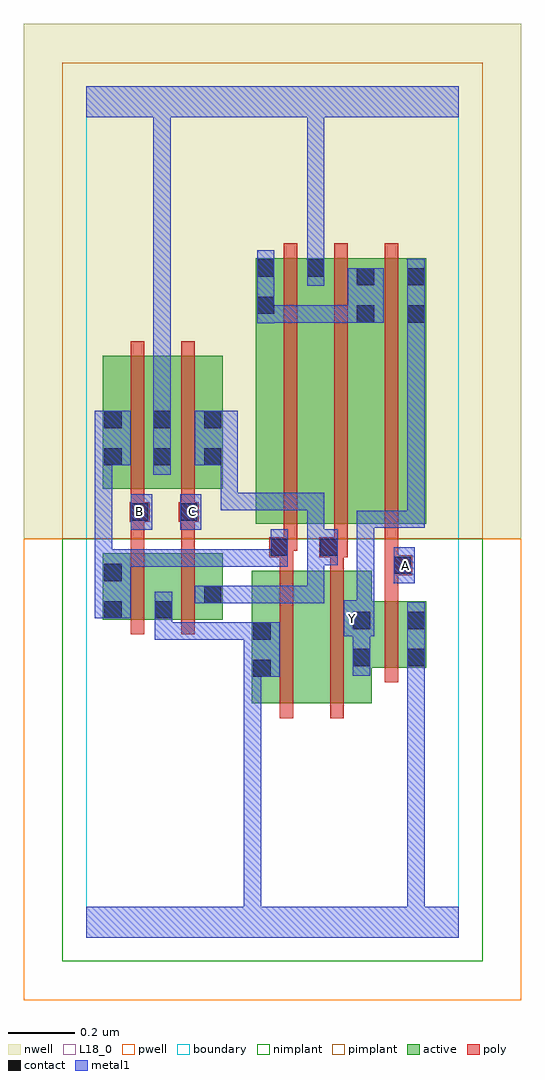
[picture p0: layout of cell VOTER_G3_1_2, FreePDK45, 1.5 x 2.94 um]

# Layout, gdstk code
import gdstk
lib = gdstk.Library(unit=1e-6, precision=1e-09)
def R(c, l, rs):  # rectangles x0, y0, x1, y1
    for r in rs: c.add(gdstk.rectangle(r[:2], r[2:], *l))
def A(c, l, x, y, w, h, nx, ny, dx, dy):  # array of equal rectangles
    R(c, l, [(x+i*dx, y+j*dy, x+i*dx+w, y+j*dy+h) for i in range(nx) for j in range(ny)])
active = (1, 0)
pwell = (2, 0)
nwell = (3, 0)
nimplant = (4, 0)
pimplant = (5, 0)
poly = (9, 0)
contact = (10, 0)
metal1 = (11, 0)
L18_0 = (18, 0)
boundary = (235, 0)

voter_g3_1_2 = lib.new_cell('VOTER_G3_1_2')
R(voter_g3_1_2, active, [(0.498,0.704,0.678,1.104), (0.498,0.704,0.558,1.104), (0.678,0.704,0.858,1.104), (0.798,0.704,0.858,0.984), (0.798,0.812,1.022,1.012), (0.962,0.812,1.022,1.012), (0.05,0.956,0.11,1.156), (0.05,0.956,0.262,1.156), (0.202,0.956,0.41,1.156), (0.202,0.956,0.262,1.034), (0.35,0.956,0.41,1.156), (0.51,1.244,0.57,2.044), (0.51,1.244,0.72,2.044), (0.66,1.244,0.72,2.044), (0.66,1.244,0.87,2.044), (0.81,1.244,1.022,2.044), (0.962,1.244,1.022,2.044), (0.05,1.35,0.11,1.75), (0.05,1.35,0.258,1.75), (0.198,1.35,0.41,1.75), (0.35,1.35,0.41,1.644), (0.198,1.416,0.258,1.644), (0.81,1.686,0.87,2.044)])
R(voter_g3_1_2, pwell, [(-0.188,-0.188,1.308,1.2)])
R(voter_g3_1_2, nwell, [(-0.188,1.2,1.308,2.748)])
R(voter_g3_1_2, nimplant, [(-0.072,-0.072,1.192,1.2)])
R(voter_g3_1_2, pimplant, [(-0.072,1.2,1.192,2.632)])
A(voter_g3_1_2, poly, 0.594, 1.2, 0.04, 0.888, 3, 1, 0.152, 0)
R(voter_g3_1_2, poly, [(0.582,0.66,0.622,1.148), (0.734,0.66,0.774,1.148), (0.898,0.768,0.938,1.056), (0.134,0.912,0.174,1.2), (0.286,0.912,0.326,1.2), (0.898,1.016,0.938,1.13), (0.898,1.09,0.98,1.15), (0.582,1.108,0.622,1.184), (0.734,1.108,0.774,1.184), (0.898,1.11,0.938,1.24), (0.898,1.11,0.938,1.15), (0.898,1.11,0.938,1.15), (0.55,1.144,0.622,1.204), (0.7,1.144,0.786,1.204), (0.734,1.144,0.774,1.184), (0.734,1.144,0.774,1.184), (0.134,1.16,0.174,1.29), (0.286,1.16,0.326,1.29), (0.582,1.164,0.622,1.204), (0.582,1.164,0.634,1.204), (0.594,1.164,0.634,1.24), (0.746,1.164,0.786,1.24), (0.13,1.25,0.19,1.31), (0.134,1.25,0.174,1.29), (0.134,1.25,0.174,1.29), (0.278,1.25,0.338,1.31), (0.286,1.25,0.326,1.29), (0.286,1.25,0.326,1.29), (0.134,1.27,0.174,1.346), (0.286,1.27,0.326,1.346), (0.134,1.306,0.174,1.794), (0.286,1.306,0.326,1.794)])
R(voter_g3_1_2, contact, [(0.502,0.784,0.554,0.836), (0.802,0.816,0.854,0.868), (0.966,0.816,1.018,0.868), (0.502,0.896,0.554,0.948), (0.802,0.928,0.854,0.98), (0.966,0.928,1.018,0.98), (0.054,0.96,0.106,1.012), (0.206,0.96,0.258,1.012), (0.354,1.006,0.406,1.058), (0.054,1.072,0.106,1.124), (0.924,1.094,0.976,1.146), (0.554,1.148,0.606,1.2), (0.704,1.148,0.756,1.2), (0.134,1.254,0.186,1.306), (0.282,1.254,0.334,1.306), (0.054,1.42,0.106,1.472), (0.202,1.42,0.254,1.472), (0.354,1.42,0.406,1.472), (0.054,1.532,0.106,1.584), (0.202,1.532,0.254,1.584), (0.354,1.532,0.406,1.584), (0.814,1.85,0.866,1.902), (0.966,1.85,1.018,1.902), (0.514,1.876,0.566,1.928), (0.814,1.962,0.866,2.014), (0.966,1.962,1.018,2.014), (0.514,1.988,0.566,2.04), (0.664,1.988,0.716,2.04)])
R(voter_g3_1_2, metal1, [(0,0,1.12,0.092), (0.474,0.04,0.526,0.092), (0.474,0.04,0.526,0.092), (0.474,0.04,0.526,0.092), (0.474,0.04,0.526,0.092), (0.474,0.04,0.526,0.836), (0.966,0.04,1.018,0.092), (0.966,0.04,1.018,0.092), (0.966,0.04,1.018,0.092), (0.966,0.04,1.018,0.092), (0.966,0.04,1.018,0.092), (0.966,0.04,1.018,0.092), (0.966,0.04,1.018,0.092), (0.966,0.04,1.018,0.092), (0.966,0.04,1.018,0.092), (0.966,0.04,1.018,0.092), (0.966,0.04,1.018,0.092), (0.966,0.04,1.018,0.092), (0.966,0.04,1.018,0.534), (0.966,0.482,1.018,0.534), (0.966,0.482,1.018,0.84), (0.474,0.784,0.526,0.836), (0.474,0.784,0.526,0.836), (0.474,0.784,0.526,0.836), (0.474,0.784,0.526,0.836), (0.474,0.784,0.526,0.836), (0.474,0.784,0.526,0.836), (0.474,0.784,0.526,0.836), (0.474,0.784,0.526,0.836), (0.474,0.784,0.582,0.948), (0.802,0.788,0.854,1.008), (0.966,0.788,1.018,1.008), (0.966,0.788,1.018,0.84), (0.966,0.788,1.018,0.84), (0.206,0.896,0.386,0.948), (0.206,0.896,0.258,0.984), (0.334,0.896,0.386,0.948), (0.334,0.896,0.386,0.948), (0.334,0.896,0.386,0.948), (0.334,0.896,0.386,0.948), (0.334,0.896,0.386,0.948), (0.334,0.896,0.526,0.948), (0.774,0.906,0.866,1.014), (0.802,0.906,0.854,0.958), (0.206,0.932,0.258,0.984), (0.206,0.932,0.258,1.04), (0.026,0.96,0.134,1.124), (0.814,0.962,0.866,1.284), (0.326,1.006,0.434,1.058), (0.382,1.006,0.606,1.058), (0.554,1.006,0.606,1.058), (0.554,1.006,0.606,1.058), (0.554,1.006,0.606,1.058), (0.554,1.006,0.716,1.058), (0.664,1.006,0.716,1.058), (0.664,1.006,0.716,1.058), (0.664,1.006,0.716,1.058), (0.664,1.006,0.716,1.228), (0.924,1.066,0.988,1.174), (0.026,1.072,0.078,1.168), (0.026,1.116,0.078,1.168), (0.026,1.116,0.078,1.168), (0.026,1.116,0.078,1.168), (0.026,1.116,0.244,1.168), (0.026,1.116,0.078,1.472), (0.192,1.116,0.244,1.168), (0.192,1.116,0.416,1.168), (0.364,1.116,0.416,1.168), (0.364,1.116,0.416,1.168), (0.364,1.116,0.416,1.168), (0.364,1.116,0.606,1.168), (0.554,1.116,0.606,1.172), (0.554,1.12,0.606,1.172), (0.554,1.12,0.606,1.228), (0.704,1.12,0.756,1.228), (0.664,1.176,0.756,1.228), (0.664,1.176,0.716,1.338), (0.134,1.226,0.198,1.334), (0.282,1.226,0.346,1.334), (0.814,1.232,0.866,1.284), (0.814,1.232,1.018,1.284), (0.966,1.232,1.018,1.874), (0.966,1.232,1.018,1.284), (0.966,1.232,1.018,1.284), (0.966,1.232,1.018,1.284), (0.404,1.286,0.456,1.338), (0.404,1.286,0.566,1.338), (0.404,1.286,0.456,1.472), (0.514,1.286,0.566,1.338), (0.514,1.286,0.566,1.338), (0.514,1.286,0.566,1.338), (0.514,1.286,0.716,1.338), (0.202,1.392,0.254,1.612), (0.026,1.42,0.078,1.472), (0.026,1.42,0.078,1.472), (0.026,1.42,0.134,1.584), (0.326,1.42,0.456,1.584), (0.202,1.56,0.254,1.612), (0.202,1.56,0.254,1.612), (0.202,1.56,0.254,2.52), (0.966,1.822,1.018,2.042), (0.514,1.848,0.566,2.068), (0.514,1.85,0.566,1.902), (0.514,1.85,0.566,1.902), (0.514,1.85,0.716,1.902), (0.664,1.85,0.716,1.902), (0.664,1.85,0.716,1.902), (0.664,1.85,0.716,1.902), (0.664,1.85,0.838,1.902), (0.786,1.85,0.894,2.014), (0.664,1.96,0.716,2.068), (0.664,2.016,0.716,2.068), (0.664,2.016,0.716,2.068), (0.664,2.016,0.716,2.068), (0.664,2.016,0.716,2.068), (0.664,2.016,0.716,2.52), (0,2.468,1.12,2.56), (0.202,2.468,0.254,2.52), (0.202,2.468,0.254,2.52), (0.202,2.468,0.254,2.52), (0.202,2.468,0.254,2.52), (0.202,2.468,0.254,2.52), (0.202,2.468,0.254,2.52), (0.202,2.468,0.254,2.52), (0.202,2.468,0.254,2.52), (0.202,2.468,0.254,2.52), (0.202,2.468,0.254,2.52), (0.202,2.468,0.254,2.52), (0.202,2.468,0.254,2.52), (0.202,2.468,0.254,2.52), (0.202,2.468,0.254,2.52), (0.664,2.468,0.716,2.52), (0.664,2.468,0.716,2.52), (0.664,2.468,0.716,2.52), (0.664,2.468,0.716,2.52)])
R(voter_g3_1_2, L18_0, [(0,0,1.12,0.092), (0.474,0.04,0.526,0.092), (0.474,0.04,0.526,0.092), (0.474,0.04,0.526,0.092), (0.474,0.04,0.526,0.092), (0.474,0.04,0.526,0.836), (0.966,0.04,1.018,0.092), (0.966,0.04,1.018,0.092), (0.966,0.04,1.018,0.092), (0.966,0.04,1.018,0.092), (0.966,0.04,1.018,0.092), (0.966,0.04,1.018,0.092), (0.966,0.04,1.018,0.092), (0.966,0.04,1.018,0.092), (0.966,0.04,1.018,0.092), (0.966,0.04,1.018,0.092), (0.966,0.04,1.018,0.092), (0.966,0.04,1.018,0.092), (0.966,0.04,1.018,0.534), (0.966,0.482,1.018,0.534), (0.966,0.482,1.018,0.84), (0.474,0.784,0.526,0.836), (0.474,0.784,0.526,0.836), (0.474,0.784,0.526,0.836), (0.474,0.784,0.526,0.836), (0.474,0.784,0.526,0.836), (0.474,0.784,0.526,0.836), (0.474,0.784,0.526,0.836), (0.474,0.784,0.526,0.836), (0.474,0.784,0.582,0.948), (0.802,0.788,0.854,1.008), (0.966,0.788,1.018,1.008), (0.966,0.788,1.018,0.84), (0.966,0.788,1.018,0.84), (0.206,0.896,0.258,0.984), (0.206,0.896,0.386,0.948), (0.334,0.896,0.386,0.948), (0.334,0.896,0.386,0.948), (0.334,0.896,0.386,0.948), (0.334,0.896,0.386,0.948), (0.334,0.896,0.386,0.948), (0.334,0.896,0.526,0.948), (0.774,0.906,0.866,1.014), (0.802,0.906,0.854,0.958), (0.206,0.932,0.258,1.04), (0.206,0.932,0.258,0.984), (0.774,0.934,0.826,0.986), (0.814,0.962,0.866,1.284), (0.924,1.066,0.988,1.174), (0.934,1.094,0.986,1.146), (0.134,1.226,0.198,1.334), (0.282,1.226,0.346,1.334), (0.814,1.232,0.866,1.284), (0.814,1.232,1.018,1.284), (0.966,1.232,1.018,1.284), (0.966,1.232,1.018,1.284), (0.966,1.232,1.018,1.284), (0.966,1.232,1.018,1.874), (0.134,1.254,0.186,1.306), (0.294,1.254,0.346,1.306), (0.202,1.392,0.254,1.612), (0.202,1.56,0.254,1.612), (0.202,1.56,0.254,1.612), (0.202,1.56,0.254,2.52), (0.966,1.822,1.018,2.042), (0.664,1.96,0.716,2.068), (0.664,2.016,0.716,2.068), (0.664,2.016,0.716,2.068), (0.664,2.016,0.716,2.068), (0.664,2.016,0.716,2.068), (0.664,2.016,0.716,2.52), (0,2.468,1.12,2.56), (0.202,2.468,0.254,2.52), (0.202,2.468,0.254,2.52), (0.202,2.468,0.254,2.52), (0.202,2.468,0.254,2.52), (0.202,2.468,0.254,2.52), (0.202,2.468,0.254,2.52), (0.202,2.468,0.254,2.52), (0.202,2.468,0.254,2.52), (0.202,2.468,0.254,2.52), (0.202,2.468,0.254,2.52), (0.202,2.468,0.254,2.52), (0.202,2.468,0.254,2.52), (0.202,2.468,0.254,2.52), (0.202,2.468,0.254,2.52), (0.664,2.468,0.716,2.52), (0.664,2.468,0.716,2.52), (0.664,2.468,0.716,2.52), (0.664,2.468,0.716,2.52)])
R(voter_g3_1_2, boundary, [(0,0,1.12,2.56)])
voter_g3_1_2.add(gdstk.Label('A', (0.96,1.12), layer=11, texttype=0))
voter_g3_1_2.add(gdstk.Label('B', (0.16,1.28), layer=11, texttype=0))
voter_g3_1_2.add(gdstk.Label('C', (0.32,1.28), layer=11, texttype=0))
voter_g3_1_2.add(gdstk.Label('Y', (0.8,0.96), layer=11, texttype=0))

lib.write_gds('VOTER_G3_1_2.gds')
